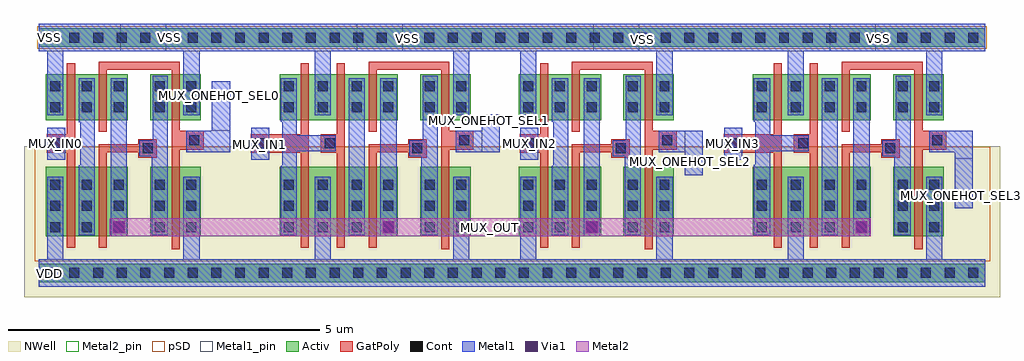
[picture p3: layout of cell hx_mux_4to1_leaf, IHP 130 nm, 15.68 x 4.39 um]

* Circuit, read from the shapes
.subckt hx_mux_4to1_leaf MUX_IN0 MUX_IN1 MUX_IN2 MUX_IN3 MUX_ONEHOT_SEL0 MUX_ONEHOT_SEL1 MUX_ONEHOT_SEL2 MUX_ONEHOT_SEL3 MUX_OUT VDD VSS
XM1 n1 MUX_IN0 VSS VSS sg13_lv_nmos w=0.74u l=0.13u
XM2 MUX_OUT MUX_ONEHOT_SEL0 n1 VSS sg13_lv_nmos w=0.74u l=0.13u
XM3 VSS MUX_ONEHOT_SEL0 n2 VSS sg13_lv_nmos w=0.74u l=0.13u
XM4 VSS MUX_IN1 n3 VSS sg13_lv_nmos w=0.74u l=0.13u
XM5 n4 n3 VSS VSS sg13_lv_nmos w=0.74u l=0.13u
XM6 MUX_OUT MUX_ONEHOT_SEL1 n4 VSS sg13_lv_nmos w=0.74u l=0.13u
XM7 VSS MUX_ONEHOT_SEL1 n5 VSS sg13_lv_nmos w=0.74u l=0.13u
XM8 n6 MUX_IN2 VSS VSS sg13_lv_nmos w=0.74u l=0.13u
XM9 MUX_OUT MUX_ONEHOT_SEL2 n6 VSS sg13_lv_nmos w=0.74u l=0.13u
XM10 VSS MUX_ONEHOT_SEL2 n7 VSS sg13_lv_nmos w=0.74u l=0.13u
XM11 VSS MUX_IN3 n8 VSS sg13_lv_nmos w=0.74u l=0.13u
XM12 n9 n8 VSS VSS sg13_lv_nmos w=0.74u l=0.13u
XM13 MUX_OUT MUX_ONEHOT_SEL3 n9 VSS sg13_lv_nmos w=0.74u l=0.13u
XM14 VSS MUX_ONEHOT_SEL3 n10 VSS sg13_lv_nmos w=0.74u l=0.13u
XM15 n1 MUX_IN0 VDD VDD sg13_lv_pmos w=1.12u l=0.13u
XM16 MUX_OUT n2 n1 VDD sg13_lv_pmos w=1.12u l=0.13u
XM17 VDD MUX_ONEHOT_SEL0 n2 VDD sg13_lv_pmos w=1.12u l=0.13u
XM18 VDD MUX_IN1 n3 VDD sg13_lv_pmos w=1.12u l=0.13u
XM19 n4 n3 VDD VDD sg13_lv_pmos w=1.12u l=0.13u
XM20 MUX_OUT n5 n4 VDD sg13_lv_pmos w=1.12u l=0.13u
XM21 VDD MUX_ONEHOT_SEL1 n5 VDD sg13_lv_pmos w=1.12u l=0.13u
XM22 n6 MUX_IN2 VDD VDD sg13_lv_pmos w=1.12u l=0.13u
XM23 MUX_OUT n7 n6 VDD sg13_lv_pmos w=1.12u l=0.13u
XM24 VDD MUX_ONEHOT_SEL2 n7 VDD sg13_lv_pmos w=1.12u l=0.13u
XM25 VDD MUX_IN3 n8 VDD sg13_lv_pmos w=1.12u l=0.13u
XM26 n9 n8 VDD VDD sg13_lv_pmos w=1.12u l=0.13u
XM27 MUX_OUT n10 n9 VDD sg13_lv_pmos w=1.12u l=0.13u
XM28 VDD MUX_ONEHOT_SEL3 n10 VDD sg13_lv_pmos w=1.12u l=0.13u
.ends

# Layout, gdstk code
import gdstk
lib = gdstk.Library(unit=1e-6, precision=1e-09)
def R(c, l, rs):  # rectangles x0, y0, x1, y1
    for r in rs: c.add(gdstk.rectangle(r[:2], r[2:], *l))
def A(c, l, x, y, w, h, nx, ny, dx, dy):  # array of equal rectangles
    R(c, l, [(x+i*dx, y+j*dy, x+i*dx+w, y+j*dy+h) for i in range(nx) for j in range(ny)])
def P(c, l, *ps):  # polygons
    for p in ps: c.add(gdstk.Polygon(p, *l))
Activ = (1, 0)
GatPoly = (5, 0)
Cont = (6, 0)
Metal1 = (8, 0)
Metal1_pin = (8, 2)
Metal2 = (10, 0)
Metal2_pin = (10, 2)
pSD = (14, 0)
Via1 = (19, 0)
NWell = (31, 0)

hx_mux_4to1_leaf = lib.new_cell('hx_mux_4to1_leaf')
R(hx_mux_4to1_leaf, Activ, [(0,-0.54,15.2,-0.24), (0.11,0.195,1.43,1.315), (1.79,0.195,2.6,1.315), (3.865,0.195,5.765,1.315), (6.125,0.195,6.935,1.315), (7.71,0.195,9.03,1.315), (9.39,0.195,10.2,1.315), (11.465,0.195,13.365,1.315), (13.725,0.195,14.535,1.315), (0.11,2.06,1.43,2.8), (1.79,2.06,2.6,2.8), (3.865,2.06,5.765,2.8), (6.125,2.06,6.935,2.8), (7.71,2.06,9.03,2.8), (9.39,2.06,10.2,2.8), (11.465,2.06,13.365,2.8), (13.725,2.06,14.535,2.8), (0,3.24,15.2,3.54)])
P(hx_mux_4to1_leaf, GatPoly, [(14.065,-0.01),(14.065,2.875),(13.025,2.875),(13.025,1.88),(12.895,1.88),(12.895,3.005),(14.195,3.005),(14.195,1.89),(14.58,1.89),(14.58,1.59),(14.195,1.59),(14.195,-0.01)],
  [(12.895,0.015),(12.895,1.68),(13.53,1.68),(13.53,1.76),(13.83,1.76),(13.83,1.46),(13.53,1.46),(13.53,1.545),(13.025,1.545),(13.025,0.015)],
  [(11.805,0.015),(11.805,1.54),(11.005,1.54),(11.005,1.84),(11.805,1.84),(11.805,2.98),(11.935,2.98),(11.935,0.015)],
  [(12.385,0.015),(12.385,1.54),(12.125,1.54),(12.125,1.84),(12.385,1.84),(12.385,2.98),(12.515,2.98),(12.515,0.015)],
  [(9.73,-0.01),(9.73,2.875),(8.69,2.875),(8.69,1.88),(8.56,1.88),(8.56,3.005),(9.86,3.005),(9.86,1.89),(10.245,1.89),(10.245,1.59),(9.86,1.59),(9.86,-0.01)],
  [(8.56,0.015),(8.56,1.68),(9.195,1.68),(9.195,1.76),(9.495,1.76),(9.495,1.46),(9.195,1.46),(9.195,1.545),(8.69,1.545),(8.69,0.015)],
  [(8.05,0.015),(8.05,1.54),(7.725,1.54),(7.725,1.84),(8.05,1.84),(8.05,2.98),(8.18,2.98),(8.18,0.015)],
  [(6.465,-0.01),(6.465,2.875),(5.425,2.875),(5.425,1.88),(5.295,1.88),(5.295,3.005),(6.595,3.005),(6.595,1.89),(6.98,1.89),(6.98,1.59),(6.595,1.59),(6.595,-0.01)],
  [(5.295,0.015),(5.295,1.68),(5.93,1.68),(5.93,1.76),(6.23,1.76),(6.23,1.46),(5.93,1.46),(5.93,1.545),(5.425,1.545),(5.425,0.015)],
  [(4.205,0.015),(4.205,1.54),(3.405,1.54),(3.405,1.84),(4.205,1.84),(4.205,2.98),(4.335,2.98),(4.335,0.015)],
  [(4.785,0.015),(4.785,1.54),(4.525,1.54),(4.525,1.84),(4.785,1.84),(4.785,2.98),(4.915,2.98),(4.915,0.015)],
  [(2.13,-0.01),(2.13,2.875),(1.09,2.875),(1.09,1.88),(0.96,1.88),(0.96,3.005),(2.26,3.005),(2.26,1.89),(2.645,1.89),(2.645,1.59),(2.26,1.59),(2.26,-0.01)],
  [(0.96,0.015),(0.96,1.68),(1.595,1.68),(1.595,1.76),(1.895,1.76),(1.895,1.46),(1.595,1.46),(1.595,1.545),(1.09,1.545),(1.09,0.015)],
  [(0.45,0.015),(0.45,1.54),(0.125,1.54),(0.125,1.84),(0.45,1.84),(0.45,2.98),(0.58,2.98),(0.58,0.015)])
A(hx_mux_4to1_leaf, Cont, 0.11, -0.47, 0.16, 0.16, 40, 2, 0.38, 3.78)
A(hx_mux_4to1_leaf, Cont, 0.18, 0.265, 0.16, 0.16, 3, 3, 0.51, 0.34)
A(hx_mux_4to1_leaf, Cont, 1.86, 0.265, 0.16, 0.16, 1, 3, 0, 0.34)
A(hx_mux_4to1_leaf, Cont, 2.37, 0.265, 0.16, 0.16, 1, 3, 0, 0.34)
A(hx_mux_4to1_leaf, Cont, 3.935, 0.265, 0.16, 0.16, 3, 3, 0.545, 0.34)
A(hx_mux_4to1_leaf, Cont, 5.535, 0.265, 0.16, 0.16, 1, 3, 0, 0.34)
A(hx_mux_4to1_leaf, Cont, 6.195, 0.265, 0.16, 0.16, 1, 3, 0, 0.34)
A(hx_mux_4to1_leaf, Cont, 6.705, 0.265, 0.16, 0.16, 1, 3, 0, 0.34)
A(hx_mux_4to1_leaf, Cont, 7.78, 0.265, 0.16, 0.16, 3, 3, 0.51, 0.34)
A(hx_mux_4to1_leaf, Cont, 9.46, 0.265, 0.16, 0.16, 1, 3, 0, 0.34)
A(hx_mux_4to1_leaf, Cont, 9.97, 0.265, 0.16, 0.16, 1, 3, 0, 0.34)
A(hx_mux_4to1_leaf, Cont, 11.535, 0.265, 0.16, 0.16, 3, 3, 0.545, 0.34)
A(hx_mux_4to1_leaf, Cont, 13.135, 0.265, 0.16, 0.16, 1, 3, 0, 0.34)
A(hx_mux_4to1_leaf, Cont, 13.795, 0.265, 0.16, 0.16, 1, 3, 0, 0.34)
A(hx_mux_4to1_leaf, Cont, 14.305, 0.265, 0.16, 0.16, 1, 3, 0, 0.34)
A(hx_mux_4to1_leaf, Cont, 0.18, 2.19, 0.16, 0.16, 3, 2, 0.51, 0.34)
A(hx_mux_4to1_leaf, Cont, 3.935, 2.19, 0.16, 0.16, 3, 2, 0.545, 0.34)
A(hx_mux_4to1_leaf, Cont, 7.78, 2.19, 0.16, 0.16, 3, 2, 0.51, 0.34)
A(hx_mux_4to1_leaf, Cont, 11.535, 2.19, 0.16, 0.16, 3, 2, 0.545, 0.34)
R(hx_mux_4to1_leaf, Cont, [(1.665,1.53,1.825,1.69), (6,1.53,6.16,1.69), (9.265,1.53,9.425,1.69), (13.6,1.53,13.76,1.69), (0.195,1.61,0.355,1.77), (3.475,1.61,3.635,1.77), (4.595,1.61,4.755,1.77), (7.795,1.61,7.955,1.77), (11.075,1.61,11.235,1.77), (12.195,1.61,12.355,1.77), (2.415,1.66,2.575,1.82), (6.75,1.66,6.91,1.82), (10.015,1.66,10.175,1.82), (14.35,1.66,14.51,1.82), (1.86,2.19,2.02,2.35), (2.37,2.19,2.53,2.35), (5.535,2.19,5.695,2.35), (6.195,2.19,6.355,2.35), (6.705,2.19,6.865,2.35), (9.46,2.19,9.62,2.35), (9.97,2.19,10.13,2.35), (13.135,2.19,13.295,2.35), (13.795,2.19,13.955,2.35), (14.305,2.19,14.465,2.35), (1.86,2.53,2.02,2.69), (2.37,2.53,2.53,2.69), (5.535,2.53,5.695,2.69), (6.195,2.53,6.355,2.69), (6.705,2.53,6.865,2.69), (9.46,2.53,9.62,2.69), (9.97,2.53,10.13,2.69), (13.135,2.53,13.295,2.69), (13.795,2.53,13.955,2.69), (14.305,2.53,14.465,2.69)])
R(hx_mux_4to1_leaf, Metal1, [(0,-0.61,15.2,-0.17), (0.13,-0.17,0.39,1.155), (2.32,-0.17,2.58,1.155), (4.43,-0.17,4.69,1.155), (6.655,-0.17,6.915,1.155), (7.73,-0.17,7.99,1.155), (9.92,-0.17,10.18,1.155), (12.03,-0.17,12.29,1.155), (14.255,-0.17,14.515,1.155), (1.15,0.2,1.41,2.735), (5.485,0.2,5.745,2.735), (8.75,0.2,9.01,2.735), (13.085,0.2,13.345,2.735), (4.975,0.215,5.235,2.74), (12.575,0.215,12.835,2.74), (0.13,1.425,0.42,1.94), (3.41,1.425,3.7,1.94), (7.73,1.425,8.02,1.94), (11.01,1.425,11.3,1.94), (0.13,2.14,0.39,3.17), (2.32,2.14,2.58,3.17), (4.43,2.14,4.69,3.17), (6.655,2.14,6.915,3.17), (7.73,2.14,7.99,3.17), (9.92,2.14,10.18,3.17), (12.03,2.14,12.29,3.17), (14.255,2.14,14.515,3.17), (0,3.17,15.2,3.61)])
P(hx_mux_4to1_leaf, Metal1, [(3.885,0.215),(3.885,1.33),(3.91,1.33),(3.91,2.04),(3.885,2.04),(3.885,2.74),(4.145,2.74),(4.145,1.82),(4.765,1.82),(4.765,1.56),(4.145,1.56),(4.145,0.215)],
  [(8.24,0.215),(8.24,1.33),(8.265,1.33),(8.265,2.035),(8.24,2.035),(8.24,2.74),(8.5,2.74),(8.5,0.215)],
  [(11.485,0.215),(11.485,1.345),(11.505,1.345),(11.505,2.04),(11.485,2.04),(11.485,2.74),(11.745,2.74),(11.745,1.82),(12.365,1.82),(12.365,1.56),(11.745,1.56),(11.745,0.215)],
  [(0.64,0.215),(0.64,1.335),(0.665,1.335),(0.665,2.03),(0.64,2.03),(0.64,2.74),(0.9,2.74),(0.9,0.215)],
  [(10.375,1.18),(10.375,1.55),(9.96,1.55),(9.96,1.89),(10.665,1.89),(10.665,1.18)],
  [(13.745,0.215),(13.745,1.48),(13.55,1.48),(13.55,1.74),(13.765,1.74),(13.765,2.775),(14.005,2.775),(14.005,0.215)],
  [(9.41,0.215),(9.41,1.48),(9.215,1.48),(9.215,1.74),(9.43,1.74),(9.43,2.775),(9.67,2.775),(9.67,0.215)],
  [(14.715,0.65),(14.715,1.55),(14.3,1.55),(14.3,1.89),(15.005,1.89),(15.005,0.65)],
  [(2.365,1.55),(2.365,1.89),(2.78,1.89),(2.78,2.69),(3.07,2.69),(3.07,1.55)],
  [(6.145,0.215),(6.145,1.48),(5.95,1.48),(5.95,1.74),(6.165,1.74),(6.165,2.775),(6.405,2.775),(6.405,0.215)],
  [(6.7,1.55),(6.7,1.89),(7.115,1.89),(7.115,2.16),(7.405,2.16),(7.405,1.55)],
  [(1.81,0.215),(1.81,1.48),(1.615,1.48),(1.615,1.74),(1.83,1.74),(1.83,2.775),(2.07,2.775),(2.07,0.215)])
A(hx_mux_4to1_leaf, Metal1_pin, 2.035, 3.17, 3.08, 0.44, 3, 1, 3.8, 0)
R(hx_mux_4to1_leaf, Metal1_pin, [(0,-0.61,15.2,-0.17), (8.07,-0.61,15.2,-0.17), (14.715,0.65,15.005,1.45), (10.375,1.18,10.665,1.89), (0.13,1.425,0.42,1.94), (3.41,1.425,3.7,1.94), (7.73,1.425,8.02,1.94), (11.01,1.425,11.3,1.94), (7.115,1.55,7.405,2.16), (2.78,1.89,3.07,2.69), (0,3.17,1.315,3.61), (13.435,3.17,15.2,3.61)])
R(hx_mux_4to1_leaf, Metal2, [(1.135,0.2,13.36,0.49)])
R(hx_mux_4to1_leaf, Metal2_pin, [(1.135,0.2,13.36,0.49)])
R(hx_mux_4to1_leaf, pSD, [(-0.07,-0.205,15.285,1.635), (-0.03,3.21,15.23,3.57)])
R(hx_mux_4to1_leaf, Via1, [(1.185,0.25,1.375,0.44), (5.52,0.25,5.71,0.44), (8.785,0.25,8.975,0.44), (13.12,0.25,13.31,0.44)])
R(hx_mux_4to1_leaf, NWell, [(-0.24,-0.78,15.44,1.64)])
hx_mux_4to1_leaf.add(gdstk.Label('VSS', (2.105,3.385), layer=8, texttype=25))
hx_mux_4to1_leaf.add(gdstk.Label('VSS', (5.92,3.375), layer=8, texttype=25))
hx_mux_4to1_leaf.add(gdstk.Label('VSS', (9.695,3.365), layer=8, texttype=25))
hx_mux_4to1_leaf.add(gdstk.Label('VSS', (13.49,3.375), layer=8, texttype=25))
hx_mux_4to1_leaf.add(gdstk.Label('MUX_ONEHOT_SEL2', (10.475,1.4), layer=8, texttype=25))
hx_mux_4to1_leaf.add(gdstk.Label('MUX_ONEHOT_SEL3', (14.815,0.86), layer=8, texttype=25))
hx_mux_4to1_leaf.add(gdstk.Label('MUX_ONEHOT_SEL0', (2.905,2.46), layer=8, texttype=25))
hx_mux_4to1_leaf.add(gdstk.Label('MUX_ONEHOT_SEL1', (7.24,2.065), layer=8, texttype=25))
hx_mux_4to1_leaf.add(gdstk.Label('MUX_IN1', (3.55,1.68), layer=8, texttype=25))
hx_mux_4to1_leaf.add(gdstk.Label('MUX_IN2', (7.88,1.69), layer=8, texttype=25))
hx_mux_4to1_leaf.add(gdstk.Label('MUX_IN3', (11.145,1.685), layer=8, texttype=25))
hx_mux_4to1_leaf.add(gdstk.Label('MUX_IN0', (0.265,1.695), layer=8, texttype=25))
hx_mux_4to1_leaf.add(gdstk.Label('VDD', (0.175,-0.405), layer=8, texttype=25))
hx_mux_4to1_leaf.add(gdstk.Label('VSS', (0.175,3.385), layer=8, texttype=25))
hx_mux_4to1_leaf.add(gdstk.Label('MUX_OUT', (7.235,0.34), layer=10, texttype=25))

lib.write_gds('hx_mux_4to1_leaf.gds')
